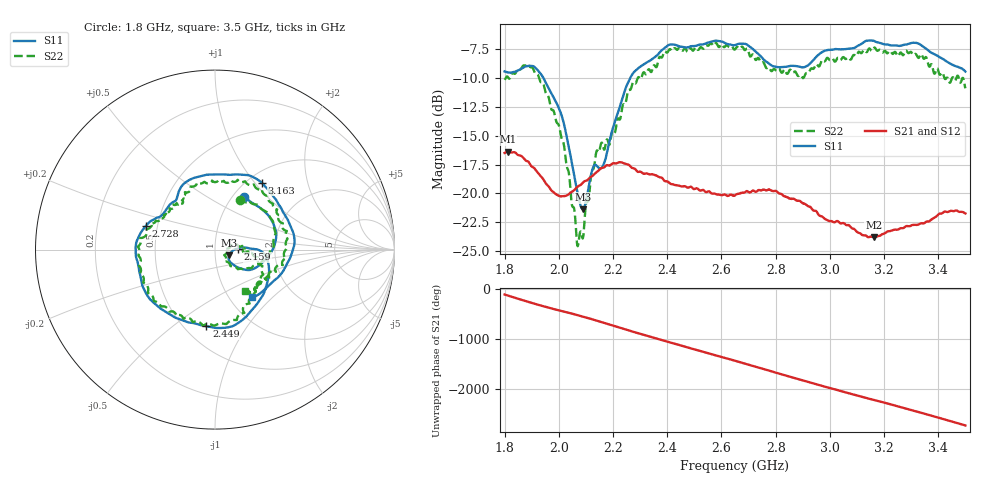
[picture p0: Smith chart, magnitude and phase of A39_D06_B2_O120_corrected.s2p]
! Created with skrf 1.9.0 (http://scikit-rf.org).
# Hz S RI R 50.0
!freq ReS11 ImS11 ReS21 ImS21 ReS12 ImS12 ReS22 ImS22
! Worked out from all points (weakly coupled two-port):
!   1601 points, 1.8 GHz to 3.5 GHz, reference 50 ohm
!   highest |S21| = -16.40 dB at 1.812 GHz (marker M1); lowest = -23.8 dB at 3.162 GHz (marker M2)
!   lowest |S11| = -21.4 dB at 2.089 GHz (marker M3), VSWR 1.19, Z = 58.5 - j3.78 ohm
!   |S11| at or under -10 dB: 1.942 GHz to 2.264 GHz (321.9 MHz wide, 15.3 % of centre)
!   |S22| runs from -24.5 to -7.0 dB; largest |S21 - S12| = 0.0025
!   S11 on the Smith chart (normalised r, x): 1.8 GHz: 1.13, +0.75; 2.159 GHz: 1.30, +0.01; 2.449 GHz: 0.64, -0.67; 2.728 GHz: 0.43, +0.13; 3.163 GHz: 1.15, +1.09; 3.5 GHz: 1.28, -0.76
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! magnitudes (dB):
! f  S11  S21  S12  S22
! 1.8 GHz  -9.5  -16.5  -16.5  -10.2
! 1.812 GHz  -9.6  -16.4  -16.4  -9.9
! 1.883 GHz  -9.0  -17.2  -17.2  -8.9
! 1.942 GHz  -10.0  -18.8  -18.8  -10.5
! 2.013 GHz  -13.4  -20.2  -20.2  -15.4
! 2.067 GHz  -19.7  -19.5  -19.5  -24.2
! 2.084 GHz  -21.2  -19.2  -19.1  -23.5
! 2.089 GHz  -21.4  -19.1  -19.1  -23.8
! 2.127 GHz  -17.7  -18.4  -18.4  -17.9
! 2.159 GHz  -17.8  -17.8  -17.7  -15.6
! 2.261 GHz  -10.1  -17.6  -17.6  -11.1
! 2.367 GHz  -8.0  -18.6  -18.5  -8.5
! 2.449 GHz  -7.3  -19.4  -19.4  -7.4
! 2.65 GHz  -7.2  -20.2  -20.1  -7.6
! 2.728 GHz  -7.8  -19.8  -19.9  -8.5
! 2.801 GHz  -9.1  -19.8  -19.8  -9.4
! 2.934 GHz  -8.6  -21.3  -21.3  -9.2
! 3.162 GHz  -6.8  -23.8  -23.7  -7.5
! 3.163 GHz  -6.8  -23.8  -23.7  -7.4
! 3.217 GHz  -7.2  -23.3  -23.2  -7.8
! 3.324 GHz  -7.0  -22.7  -22.7  -8.2
! 3.5 GHz  -9.5  -21.7  -21.7  -10.9
